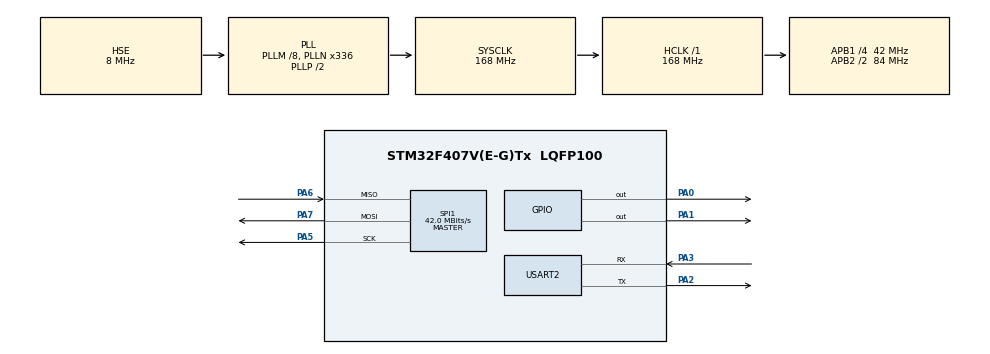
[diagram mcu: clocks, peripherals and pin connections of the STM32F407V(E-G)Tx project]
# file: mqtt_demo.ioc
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Mcu.Family=STM32F4
Mcu.Name=STM32F407V(E-G)Tx
Mcu.Package=LQFP100
NVIC.PriorityGroup=NVIC_PRIORITYGROUP_0
PA0-WKUP.Signal=GPIO_Output
PA1.Signal=GPIO_Output
PA13.Mode=Serial_Wire
PA13.Signal=SYS_JTMS-SWDIO
PA14.Mode=Serial_Wire
PA14.Signal=SYS_JTCK-SWCLK
PA2.Mode=Asynchronous
PA2.Signal=USART2_TX
PA3.Mode=Asynchronous
PA3.Signal=USART2_RX
PA5.Mode=Full_Duplex_Master
PA5.Signal=SPI1_SCK
PA6.Mode=Full_Duplex_Master
PA6.Signal=SPI1_MISO
PA7.Mode=Full_Duplex_Master
PA7.Signal=SPI1_MOSI
PH0-OSC_IN.Mode=HSE-External-Oscillator
PH0-OSC_IN.Signal=RCC_OSC_IN
PH1-OSC_OUT.Mode=HSE-External-Oscillator
PH1-OSC_OUT.Signal=RCC_OSC_OUT
ProjectManager.HeapSize=0x200
ProjectManager.StackSize=0x400
ProjectManager.TargetToolchain=STM32CubeIDE
RCC.48MHZClocksFreq_Value=48000000
RCC.AHBFreq_Value=168000000
RCC.APB1CLKDivider=RCC_HCLK_DIV4
RCC.APB1Freq_Value=42000000
RCC.APB1TimFreq_Value=84000000
RCC.APB2CLKDivider=RCC_HCLK_DIV2
RCC.APB2Freq_Value=84000000
RCC.APB2TimFreq_Value=168000000
RCC.CortexFreq_Value=168000000
RCC.HCLKFreq_Value=168000000
RCC.HSE_VALUE=8000000
RCC.HSI_VALUE=16000000
RCC.LSE_VALUE=32768
RCC.PLLM=8
RCC.PLLN=336
RCC.PLLQ=7
RCC.PLLSourceVirtual=RCC_PLLSOURCE_HSE
RCC.SYSCLKFreq_VALUE=168000000
RCC.SYSCLKSource=RCC_SYSCLKSOURCE_PLLCLK
RCC.VCOOutputFreq_Value=336000000
SPI1.BaudRatePrescaler=SPI_BAUDRATEPRESCALER_2
SPI1.CalculateBaudRate=42.0 MBits/s
SPI1.Direction=SPI_DIRECTION_2LINES
SPI1.Mode=SPI_MODE_MASTER
SPI1.VirtualType=VM_MASTER
USART2.VirtualMode=VM_ASYNC
board=STM32F407G-DISC1

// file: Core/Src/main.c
/* USER CODE BEGIN Header */
/**
  ******************************************************************************
  * @file           : main.c
  * @brief          : Main program body
  ******************************************************************************
  * @attention
  *
  * Copyright (c) 2024 STMicroelectronics.
  * All rights reserved.
  *
  * This software is licensed under terms that can be found in the LICENSE file
  * in the root directory of this software component.
  * If no LICENSE file comes with this software, it is provided AS-IS.
  *
  ******************************************************************************
  */
#include <stdio.h>

/* USER CODE END Header */

#include "main.h"
#include "w5500_spi.h"
#include "wizchip_conf.h"
#include "socket.h"

SPI_HandleTypeDef hspi1;

UART_HandleTypeDef huart2;

/* USER CODE BEGIN PV */
wiz_NetInfo gWIZNETINFO = {
		.mac = { 0x80, 0x34, 0x28, 0x74, 0xA5, 0xCB },//MSB - LSB
		.ip ={ 169, 254, 129,252},
		.sn = { 255, 255, 0, 0 },
		.gw ={ 169, 254, 129,1},
		.dns = { 8, 8, 8, 8 },
		.dhcp = NETINFO_STATIC };
uint8_t destination_ip[]={169,254,227,248};
uint16_t destination_port=5000;

/* USER CODE END PV */

/* Private function prototypes ------------------------- ----------------------*/
void SystemClock_Config(void);
static void MX_GPIO_Init(void);
static void MX_SPI1_Init(void);
static void MX_USART2_UART_Init(void);
/* USER CODE BEGIN PFP */
static void UWriteData(const char data);
static void PHYStatusCheck(void);
static void PrintPHYConf(void);

/* USER CODE END PFP */

int main(void)
{

  /* MCU Configuration--------------------------------------------------------*/

  /* Reset of all peripherals, Initializes the Flash interface and the Systick. */
  HAL_Init();

  /* USER CODE BEGIN Init */
setbuf(stdout,NULL);
  /* USER CODE END Init */

  /* Configure the system clock */
  SystemClock_Config();

  /* Initialize all configured peripherals */
  MX_GPIO_Init();
  MX_SPI1_Init();
  MX_USART2_UART_Init();
  /* USER CODE BEGIN 2 */

  printf("My first tcp client Application");
  W5500Init();
//  cltnetwork(CN_SET_NETINFO,(void*)&gWIZNETINFO2);
  ctlnetwork(CN_SET_NETINFO, (void*) &gWIZNETINFO);
  PHYStatusCheck();
  PrintPHYConf();
  /* USER CODE END 2 */
  // so the parameter of the socket function 1st is socket id (1) second one is type of socket if you create sever then local port 1 but
  //we are creating client so it must be 0 another one is socket flag in simple application socket flag 0
  if(socket(1, Sn_MR_TCP, 0, 0)==1)
  {
	  printf("\r\nSocket Created Successfully");
  }
  else
  {
	  printf("\r\nCannot create socket");
	  while(1);
  }
  /* Infinite loop */
  /* USER CODE BEGIN WHILE */
printf("\r\nConnecting to server: %d.%d.%d.%d @ TCP Port: %d",destination_ip[0],destination_ip[1],destination_ip[2],destination_ip[3],destination_port);

 if(connect(1, destination_ip, destination_port)==SOCK_OK)
 {
	  printf("\r\nConnected with server.");
 }
 else
 {
	  //failed
	  printf("\r\nCannot connect with server!");
	  while(1);
 }

 while (1)
 {
	  //Return value of the send() function is the amount of data sent
	  if(send(1, "JAI SHREE RAM!\r\n", 16)<=SOCK_ERROR)
	  {
		  printf("\r\nSending Failed!");
		  while(1);

	  }
	  else
	  {
		  printf("\r\nSending Success!");
	  }

	  HAL_Delay(1000);
 }
  /* USER CODE END 3 */
}

void SystemClock_Config(void)
{
  RCC_OscInitTypeDef RCC_OscInitStruct = {0};
  RCC_ClkInitTypeDef RCC_ClkInitStruct = {0};

  /** Configure the main internal regulator output voltage
  */
  __HAL_RCC_PWR_CLK_ENABLE();
  __HAL_PWR_VOLTAGESCALING_CONFIG(PWR_REGULATOR_VOLTAGE_SCALE1);

  /** Initializes the RCC Oscillators according to the specified parameters
  * in the RCC_OscInitTypeDef structure.
  */
  RCC_OscInitStruct.OscillatorType = RCC_OSCILLATORTYPE_HSE;
  RCC_OscInitStruct.HSEState = RCC_HSE_ON;
  RCC_OscInitStruct.PLL.PLLState = RCC_PLL_ON;
  RCC_OscInitStruct.PLL.PLLSource = RCC_PLLSOURCE_HSE;
  RCC_OscInitStruct.PLL.PLLM = 8;
  RCC_OscInitStruct.PLL.PLLN = 336;
  RCC_OscInitStruct.PLL.PLLP = RCC_PLLP_DIV2;
  RCC_OscInitStruct.PLL.PLLQ = 7;
  if (HAL_RCC_OscConfig(&RCC_OscInitStruct) != HAL_OK)
  {
    Error_Handler();
  }

  /** Initializes the CPU, AHB and APB buses clocks
  */
  RCC_ClkInitStruct.ClockType = RCC_CLOCKTYPE_HCLK|RCC_CLOCKTYPE_SYSCLK
                              |RCC_CLOCKTYPE_PCLK1|RCC_CLOCKTYPE_PCLK2;
  RCC_ClkInitStruct.SYSCLKSource = RCC_SYSCLKSOURCE_PLLCLK;
  RCC_ClkInitStruct.AHBCLKDivider = RCC_SYSCLK_DIV1;
  RCC_ClkInitStruct.APB1CLKDivider = RCC_HCLK_DIV4;
  RCC_ClkInitStruct.APB2CLKDivider = RCC_HCLK_DIV2;

  if (HAL_RCC_ClockConfig(&RCC_ClkInitStruct, FLASH_LATENCY_5) != HAL_OK)
  {
    Error_Handler();
  }
}

static void MX_SPI1_Init(void)
{

  /* SPI1 parameter configuration*/
  hspi1.Instance = SPI1;
  hspi1.Init.Mode = SPI_MODE_MASTER;
  hspi1.Init.Direction = SPI_DIRECTION_2LINES;
  hspi1.Init.DataSize = SPI_DATASIZE_8BIT;
  hspi1.Init.CLKPolarity = SPI_POLARITY_LOW;
  hspi1.Init.CLKPhase = SPI_PHASE_1EDGE;
  hspi1.Init.NSS = SPI_NSS_SOFT;
  hspi1.Init.BaudRatePrescaler = SPI_BAUDRATEPRESCALER_2;
  hspi1.Init.FirstBit = SPI_FIRSTBIT_MSB;
  hspi1.Init.TIMode = SPI_TIMODE_DISABLE;
  hspi1.Init.CRCCalculation = SPI_CRCCALCULATION_DISABLE;
  hspi1.Init.CRCPolynomial = 10;
  if (HAL_SPI_Init(&hspi1) != HAL_OK)
  {
    Error_Handler();
  }
  /* USER CODE BEGIN SPI1_Init 2 */
  __HAL_SPI_ENABLE(&hspi1);
  /* USER CODE END SPI1_Init 2 */

}

static void MX_USART2_UART_Init(void)
{

  huart2.Instance = USART2;
  huart2.Init.BaudRate = 115200;
  huart2.Init.WordLength = UART_WORDLENGTH_8B;
  huart2.Init.StopBits = UART_STOPBITS_1;
  huart2.Init.Parity = UART_PARITY_NONE;
  huart2.Init.Mode = UART_MODE_TX_RX;
  huart2.Init.HwFlowCtl = UART_HWCONTROL_NONE;
  huart2.Init.OverSampling = UART_OVERSAMPLING_16;
  if (HAL_UART_Init(&huart2) != HAL_OK)
  {
    Error_Handler();
  }

}

static void MX_GPIO_Init(void)
{
  GPIO_InitTypeDef GPIO_InitStruct = {0};

  /* GPIO Ports Clock Enable */
  __HAL_RCC_GPIOH_CLK_ENABLE();
  __HAL_RCC_GPIOA_CLK_ENABLE();

  /*Configure GPIO pin Output Level */
  HAL_GPIO_WritePin(GPIOA, GPIO_PIN_0|GPIO_PIN_1, GPIO_PIN_RESET);

  /*Configure GPIO pins : PA0 PA1 */
  GPIO_InitStruct.Pin = GPIO_PIN_0|GPIO_PIN_1;
  GPIO_InitStruct.Mode = GPIO_MODE_OUTPUT_PP;
  GPIO_InitStruct.Pull = GPIO_NOPULL;
  GPIO_InitStruct.Speed = GPIO_SPEED_FREQ_LOW;
  HAL_GPIO_Init(GPIOA, &GPIO_InitStruct);

}

/* USER CODE BEGIN 4 */
// function for usart
void UWriteData(const char data)
{
	while(__HAL_UART_GET_FLAG(&huart2,UART_FLAG_TXE)==RESET);

	huart2.Instance->DR=data;

}
int __io_putchar(int ch)
{
	UWriteData(ch);
	return ch;
}
void PHYStatusCheck(void)
{
	uint8_t tmp;
	printf("checking cable presence...\n");

	do
	{
		printf("\r\nChecking Ethernet Cable Presence ...");
		ctlwizchip(CW_GET_PHYLINK, (void*) &tmp);

		if(tmp == PHY_LINK_OFF)
		{
			printf("NO Cable Connected!");
			HAL_Delay(1500);
		}
	}while(tmp == PHY_LINK_OFF);

	printf("Good! Cable got connected!");

}
void PrintPHYConf(void)
{
	wiz_PhyConf phyconf;

	ctlwizchip(CW_GET_PHYCONF, (void*) &phyconf);

	if(phyconf.by==PHY_CONFBY_HW)
	{
		printf("\n\rPHY Configured by Hardware Pins");
	}
	else
	{
		printf("\n\rPHY Configured by Registers");
	}

	if(phyconf.mode==PHY_MODE_AUTONEGO)
	{
		printf("\n\rAutonegotiation Enabled");
	}
	else
	{
		printf("\n\rAutonegotiation NOT Enabled");
	}

	if(phyconf.duplex==PHY_DUPLEX_FULL)
	{
		printf("\n\rDuplex Mode: Full");
	}
	else
	{
		printf("\n\rDuplex Mode: Half");
	}

	if(phyconf.speed==PHY_SPEED_10)
	{
		printf("\n\rSpeed: 10Mbps");
	}
	else
	{
		printf("\n\rSpeed: 100Mbps");
	}
}

/* USER CODE END 4 */

void Error_Handler(void)
{
  __disable_irq();
  while (1)
  {
  }
}
